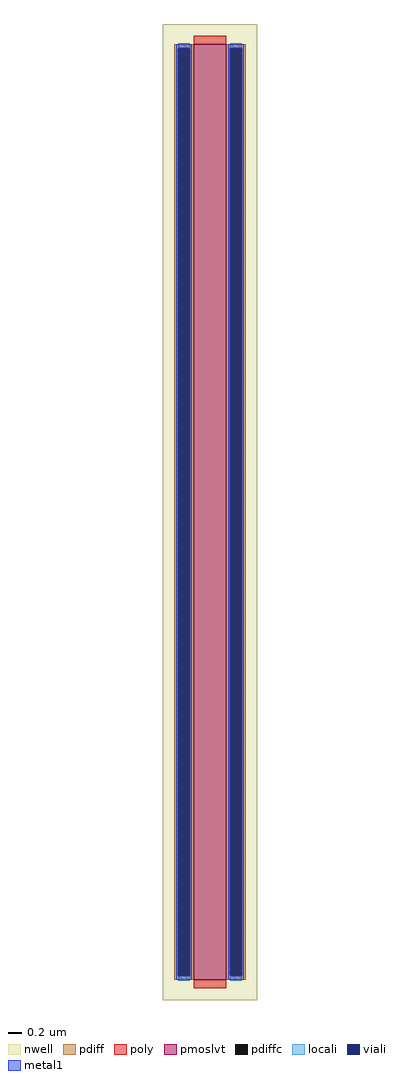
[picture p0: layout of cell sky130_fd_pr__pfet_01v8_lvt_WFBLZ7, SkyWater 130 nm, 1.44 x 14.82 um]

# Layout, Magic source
magic
tech sky130A
<< nwell >>
rect -72 -741 72 741
<< pmoslvt >>
rect -25 -710 25 710
<< pdiff >>
rect -54 704 -25 710
rect -54 -704 -48 704
rect -31 -704 -25 704
rect -54 -710 -25 -704
rect 25 704 54 710
rect 25 -704 31 704
rect 48 -704 54 704
rect 25 -710 54 -704
<< pdiffc >>
rect -48 -704 -31 704
rect 31 -704 48 704
<< poly >>
rect -25 710 25 723
rect -25 -723 25 -710
<< locali >>
rect -48 704 -31 712
rect -48 -712 -31 -704
rect 31 704 48 712
rect 31 -712 48 -704
<< viali >>
rect -48 -704 -31 704
rect 31 -704 48 704
<< metal1 >>
rect -51 704 -28 710
rect -51 -704 -48 704
rect -31 -704 -28 704
rect -51 -710 -28 -704
rect 28 704 51 710
rect 28 -704 31 704
rect 48 -704 51 704
rect 28 -710 51 -704
<< properties >>
string gencell sky130_fd_pr__pfet_01v8_lvt
string parameters w 14.2 l 0.5 m 1 nf 1 diffcov 100 polycov 100 guard 0 glc 1 grc 1 gtc 1 gbc 1 tbcov 100 rlcov 100 topc 0 botc 0 poverlap 0 doverlap 1 lmin 0.35 wmin 0.42 compatible {sky130_fd_pr__pfet_01v8  sky130_fd_pr__pfet_01v8_lvt sky130_fd_pr__pfet_01v8_hvt  sky130_fd_pr__pfet_g5v0d10v5} full_metal 1 viasrc 100 viadrn 100 viagate 100 viagb 0 viagr 0 viagl 0 viagt 0
string library sky130
<< end >>
